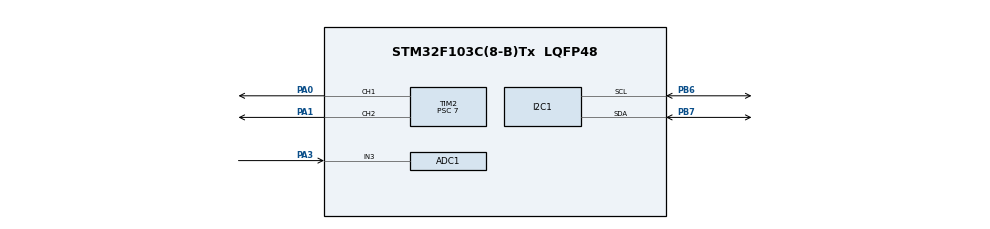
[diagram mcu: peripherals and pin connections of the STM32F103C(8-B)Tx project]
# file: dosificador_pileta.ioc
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ADC1.Channel-1\#ChannelRegularConversion=ADC_CHANNEL_3
ADC1.NbrOfConversionFlag=1
ADC1.Rank-1\#ChannelRegularConversion=1
ADC1.SamplingTime-1\#ChannelRegularConversion=ADC_SAMPLETIME_1CYCLE_5
ADC1.master=1
Mcu.Family=STM32F1
Mcu.Name=STM32F103C(8-B)Tx
Mcu.Package=LQFP48
NVIC.PriorityGroup=NVIC_PRIORITYGROUP_4
PA0-WKUP.Signal=S_TIM2_CH1_ETR
PA1.Signal=S_TIM2_CH2
PA13.Mode=Serial_Wire
PA13.Signal=SYS_JTMS-SWDIO
PA14.Mode=Serial_Wire
PA14.Signal=SYS_JTCK-SWCLK
PA3.Signal=ADCx_IN3
PB6.Mode=I2C
PB6.Signal=I2C1_SCL
PB7.Mode=I2C
PB7.Signal=I2C1_SDA
ProjectManager.HeapSize=0x200
ProjectManager.StackSize=0x400
ProjectManager.TargetToolchain=STM32CubeIDE
RCC.APB1Freq_Value=8000000
RCC.APB2Freq_Value=8000000
SH.ADCx_IN3.0=ADC1_IN3,IN3
SH.S_TIM2_CH1_ETR.0=TIM2_CH1,PWM Generation1 CH1
SH.S_TIM2_CH2.0=TIM2_CH2,PWM Generation2 CH2
TIM2.Channel-PWM\ Generation1\ CH1=TIM_CHANNEL_1
TIM2.Channel-PWM\ Generation2\ CH2=TIM_CHANNEL_2
TIM2.Period=999
TIM2.Prescaler=7
board=custom

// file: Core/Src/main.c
/* USER CODE BEGIN Header */
/**
  ******************************************************************************
  * @file           : main.c
  * @brief          : Main program body
  ******************************************************************************
  * @attention
  *
  * Copyright (c) 2025 STMicroelectronics.
  * All rights reserved.
  *
  * This software is licensed under terms that can be found in the LICENSE file
  * in the root directory of this software component.
  * If no LICENSE file comes with this software, it is provided AS-IS.
  *
  ******************************************************************************
  */
/* USER CODE END Header */
#include "main.h"

/* USER CODE BEGIN Includes */
#include "main.h"
#include <stdio.h>
#include <math.h>
#include "i2c_lcd.h"
#include <stdlib.h>
/* USER CODE END Includes */

ADC_HandleTypeDef hadc1;

I2C_HandleTypeDef hi2c1;

TIM_HandleTypeDef htim2;

void SystemClock_Config(void);
static void MX_GPIO_Init(void);
static void MX_I2C1_Init(void);
static void MX_TIM2_Init(void);
static void MX_ADC1_Init(void);

/* USER CODE BEGIN 0 */

#define PH_IDEAL 740   //valor ideal de ph
#define SENSIBILIDAD_BAJAR_PH 100 //ph/ml
#define SENSIBILIDAD_SUBIR_PH 363//ph/ml
#define VOLUMEN_PILETA 500000// ml
#define TC 500  //segundos
#define KP 170
#define DUTY_MIN 28
#define DUTY_MAX 100
#define CAUDAL_MAXIMO 133
#define PH_SLOPE -295//pendiente
#define PH_OFFSET 1460 //offset
#define PH_TOLERANCIA 5

//funcion para calcular el error de ph
int calcularErrorPH(int ph_actual){
	return PH_IDEAL - ph_actual;
}

//determino sensibilidad segun error
int obtenerSensibilidad(int error){
	return (error < 0) ? SENSIBILIDAD_BAJAR_PH : SENSIBILIDAD_SUBIR_PH;
}
 //calculo volumen
int calcularVolumen (int error, int sensibilidad){
	return (abs(error)*100)/sensibilidad;
}

//Calculo caudal
int calcularCaudal(int volumen){
	return volumen/TC;
}

//calculo duty final limitado

int calcularDutyFinal(int caudal){
	int duty_crudo = (caudal * KP) / CAUDAL_MAXIMO;

	if (duty_crudo > DUTY_MAX*100) return DUTY_MAX*100;
	if (duty_crudo < DUTY_MIN*100) return DUTY_MIN*100;
	else return duty_crudo;
}

void setBombaPWM(int duty, int subir) {
    uint32_t pulse = (uint32_t)((duty/100) * htim2.Init.Period);
    if (subir) {
        __HAL_TIM_SET_COMPARE(&htim2, TIM_CHANNEL_1, pulse);  // Bomba subir pH
        __HAL_TIM_SET_COMPARE(&htim2, TIM_CHANNEL_2, 0);      // Apaga bomba bajar
    } else {
        __HAL_TIM_SET_COMPARE(&htim2, TIM_CHANNEL_1, 0);      // Apaga bomba subir
        __HAL_TIM_SET_COMPARE(&htim2, TIM_CHANNEL_2, pulse);  // Bomba bajar pH
    }
}

int leerVoltaje(void) {
	uint32_t adc_raw = 0;

	HAL_ADC_Start(&hadc1);
	if (HAL_ADC_PollForConversion(&hadc1, 100) == HAL_OK){
		adc_raw = HAL_ADC_GetValue(&hadc1);
	}
	HAL_ADC_Stop(&hadc1);
	int volt = (adc_raw *330)/4095;
	return volt;
}

int leerPH(void){
	uint32_t adc_raw = 0;

	HAL_ADC_Start(&hadc1);
	if (HAL_ADC_PollForConversion(&hadc1, 100) == HAL_OK){
		adc_raw = HAL_ADC_GetValue(&hadc1);
	}
	HAL_ADC_Stop(&hadc1);

	int volt = (adc_raw * 330 ) / 4095; // convertir voltaje
	int ph = (PH_SLOPE * volt)/100 + PH_OFFSET; //formula lineal
	return ph;

}
/* USER CODE END 0 */

int main(void)
{

  /* USER CODE BEGIN 1 */

//A0 ES LA BOMBA PARA SUBIR PH Y A1 PARA BAJAR
  /* USER CODE END 1 */

  /* MCU Configuration--------------------------------------------------------*/

  /* Reset of all peripherals, Initializes the Flash interface and the Systick. */
  HAL_Init();

  /* Configure the system clock */
  SystemClock_Config();

  /* Initialize all configured peripherals */
  MX_GPIO_Init();
  MX_I2C1_Init();
  MX_TIM2_Init();
  MX_ADC1_Init();
  /* USER CODE BEGIN 2 */
  lcd_init ();
  lcd_clear();
  lcd_put_cur(0,0);
  lcd_send_string("Control PH ON");
  HAL_Delay(2000);

  //arrancar los canales PWM
  HAL_TIM_PWM_Start(&htim2, TIM_CHANNEL_1); // Bomba subir pH
 HAL_TIM_PWM_Start(&htim2, TIM_CHANNEL_2); // Bomba bajar pH

  /* USER CODE END 2 */

  /* Infinite loop */
  while (1)
  {

    /* USER CODE BEGIN 3 */
	  int  ph_actual = leerPH();
	  int volt = leerVoltaje();
	 int error = calcularErrorPH(ph_actual);
	 int decimal = ph_actual % 100;
	 int entero = ph_actual / 100;

	  //Mostrar el valor actual de ph
	   lcd_clear();
	   lcd_put_cur(0,0);
	   char line1[17];
	   snprintf(line1, sizeof(line1), "pH: %02d.%02d", entero, decimal);
	   lcd_send_string(line1);
	   HAL_Delay(1000);

	   // Segunda línea: voltaje

	   	 int decimal1 = volt % 100;
	  	 int entero1 = volt / 100;
	   	  char line2[17];
	   	  snprintf(line2, sizeof(line2), "V: %02d.%02d", entero1, decimal1);
	   	  lcd_put_cur(1,0);
	   	  lcd_send_string(line2);

	   	  HAL_Delay(1000);

	  if (abs(error)< PH_TOLERANCIA){
		  lcd_put_cur(1,0);
		  lcd_send_string("pH ideal");
		  setBombaPWM(0, 1);
		  HAL_Delay(2000); // espera 2 segundos

	  } else {

	  int sensibilidad = obtenerSensibilidad(error);
	  int volumen = calcularVolumen(error, sensibilidad);
	  int caudal = calcularCaudal(volumen);
	  int duty = calcularDutyFinal(abs(caudal));

	  int decimal2 = abs (error) % 100;
	  int entero2 = abs (error) / 100;
	    lcd_put_cur(1,0);
	    char ph_line[17];
	    if(error < 0.0f){
	    snprintf(ph_line, sizeof(ph_line), "Bajar:  %02d.%02d pH", entero2, decimal2);
	    setBombaPWM(duty, 0);
	  } else{
	     snprintf(ph_line, sizeof(ph_line), "Subir:  %02d.%02d pH",entero2, decimal2);
	     setBombaPWM(duty,1);
	  }

	    lcd_send_string(ph_line);       //  mostrar el texto
	    HAL_Delay(2000);

	    HAL_Delay(2000);

	 // Secuencia: Duty de la bomba
	     lcd_clear();
	     lcd_put_cur(0,0);
	     char duty_line[17];
	     int decimal3 = duty % 100;
	     int entero3 = duty / 100;

	     snprintf(duty_line, sizeof(duty_line), "Duty:  %02d.%02d", entero3, decimal3);
	     lcd_send_string(duty_line);
	      HAL_Delay(2000);

	  }

  }

  /* USER CODE END 3 */
}

void SystemClock_Config(void)
{
  RCC_OscInitTypeDef RCC_OscInitStruct = {0};
  RCC_ClkInitTypeDef RCC_ClkInitStruct = {0};
  RCC_PeriphCLKInitTypeDef PeriphClkInit = {0};

  /** Initializes the RCC Oscillators according to the specified parameters
  * in the RCC_OscInitTypeDef structure.
  */
  RCC_OscInitStruct.OscillatorType = RCC_OSCILLATORTYPE_HSI;
  RCC_OscInitStruct.HSIState = RCC_HSI_ON;
  RCC_OscInitStruct.HSICalibrationValue = RCC_HSICALIBRATION_DEFAULT;
  RCC_OscInitStruct.PLL.PLLState = RCC_PLL_NONE;
  if (HAL_RCC_OscConfig(&RCC_OscInitStruct) != HAL_OK)
  {
    Error_Handler();
  }

  /** Initializes the CPU, AHB and APB buses clocks
  */
  RCC_ClkInitStruct.ClockType = RCC_CLOCKTYPE_HCLK|RCC_CLOCKTYPE_SYSCLK
                              |RCC_CLOCKTYPE_PCLK1|RCC_CLOCKTYPE_PCLK2;
  RCC_ClkInitStruct.SYSCLKSource = RCC_SYSCLKSOURCE_HSI;
  RCC_ClkInitStruct.AHBCLKDivider = RCC_SYSCLK_DIV1;
  RCC_ClkInitStruct.APB1CLKDivider = RCC_HCLK_DIV1;
  RCC_ClkInitStruct.APB2CLKDivider = RCC_HCLK_DIV1;

  if (HAL_RCC_ClockConfig(&RCC_ClkInitStruct, FLASH_LATENCY_0) != HAL_OK)
  {
    Error_Handler();
  }
  PeriphClkInit.PeriphClockSelection = RCC_PERIPHCLK_ADC;
  PeriphClkInit.AdcClockSelection = RCC_ADCPCLK2_DIV2;
  if (HAL_RCCEx_PeriphCLKConfig(&PeriphClkInit) != HAL_OK)
  {
    Error_Handler();
  }
}

static void MX_ADC1_Init(void)
{

  ADC_ChannelConfTypeDef sConfig = {0};

  /** Common config
  */
  hadc1.Instance = ADC1;
  hadc1.Init.ScanConvMode = ADC_SCAN_DISABLE;
  hadc1.Init.ContinuousConvMode = DISABLE;
  hadc1.Init.DiscontinuousConvMode = DISABLE;
  hadc1.Init.ExternalTrigConv = ADC_SOFTWARE_START;
  hadc1.Init.DataAlign = ADC_DATAALIGN_RIGHT;
  hadc1.Init.NbrOfConversion = 1;
  if (HAL_ADC_Init(&hadc1) != HAL_OK)
  {
    Error_Handler();
  }

  /** Configure Regular Channel
  */
  sConfig.Channel = ADC_CHANNEL_3;
  sConfig.Rank = ADC_REGULAR_RANK_1;
  sConfig.SamplingTime = ADC_SAMPLETIME_1CYCLE_5;
  if (HAL_ADC_ConfigChannel(&hadc1, &sConfig) != HAL_OK)
  {
    Error_Handler();
  }

}

static void MX_I2C1_Init(void)
{

  hi2c1.Instance = I2C1;
  hi2c1.Init.ClockSpeed = 100000;
  hi2c1.Init.DutyCycle = I2C_DUTYCYCLE_2;
  hi2c1.Init.OwnAddress1 = 0;
  hi2c1.Init.AddressingMode = I2C_ADDRESSINGMODE_7BIT;
  hi2c1.Init.DualAddressMode = I2C_DUALADDRESS_DISABLE;
  hi2c1.Init.OwnAddress2 = 0;
  hi2c1.Init.GeneralCallMode = I2C_GENERALCALL_DISABLE;
  hi2c1.Init.NoStretchMode = I2C_NOSTRETCH_DISABLE;
  if (HAL_I2C_Init(&hi2c1) != HAL_OK)
  {
    Error_Handler();
  }

}

static void MX_TIM2_Init(void)
{

  TIM_MasterConfigTypeDef sMasterConfig = {0};
  TIM_OC_InitTypeDef sConfigOC = {0};

  htim2.Instance = TIM2;
  htim2.Init.Prescaler = 7;
  htim2.Init.CounterMode = TIM_COUNTERMODE_UP;
  htim2.Init.Period = 999;
  htim2.Init.ClockDivision = TIM_CLOCKDIVISION_DIV1;
  htim2.Init.AutoReloadPreload = TIM_AUTORELOAD_PRELOAD_DISABLE;
  if (HAL_TIM_PWM_Init(&htim2) != HAL_OK)
  {
    Error_Handler();
  }
  sMasterConfig.MasterOutputTrigger = TIM_TRGO_RESET;
  sMasterConfig.MasterSlaveMode = TIM_MASTERSLAVEMODE_DISABLE;
  if (HAL_TIMEx_MasterConfigSynchronization(&htim2, &sMasterConfig) != HAL_OK)
  {
    Error_Handler();
  }
  sConfigOC.OCMode = TIM_OCMODE_PWM1;
  sConfigOC.Pulse = 0;
  sConfigOC.OCPolarity = TIM_OCPOLARITY_HIGH;
  sConfigOC.OCFastMode = TIM_OCFAST_DISABLE;
  if (HAL_TIM_PWM_ConfigChannel(&htim2, &sConfigOC, TIM_CHANNEL_1) != HAL_OK)
  {
    Error_Handler();
  }
  if (HAL_TIM_PWM_ConfigChannel(&htim2, &sConfigOC, TIM_CHANNEL_2) != HAL_OK)
  {
    Error_Handler();
  }
  HAL_TIM_MspPostInit(&htim2);

}

static void MX_GPIO_Init(void)
{

  /* GPIO Ports Clock Enable */
  __HAL_RCC_GPIOA_CLK_ENABLE();
  __HAL_RCC_GPIOB_CLK_ENABLE();

}

void Error_Handler(void)
{
  __disable_irq();
  while (1)
  {
  }
}
